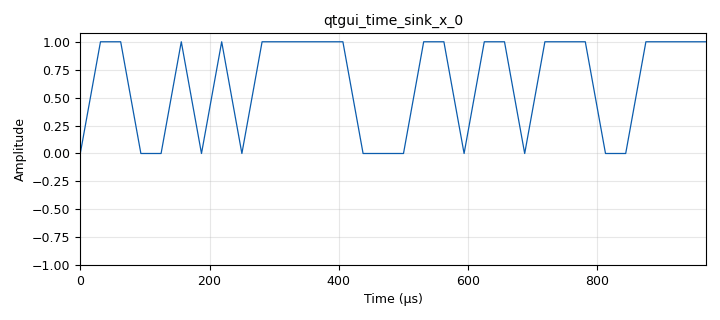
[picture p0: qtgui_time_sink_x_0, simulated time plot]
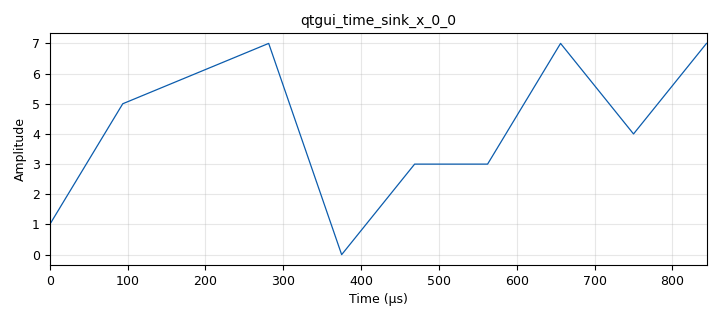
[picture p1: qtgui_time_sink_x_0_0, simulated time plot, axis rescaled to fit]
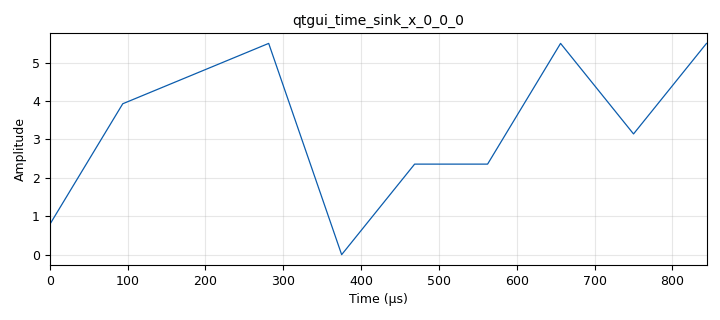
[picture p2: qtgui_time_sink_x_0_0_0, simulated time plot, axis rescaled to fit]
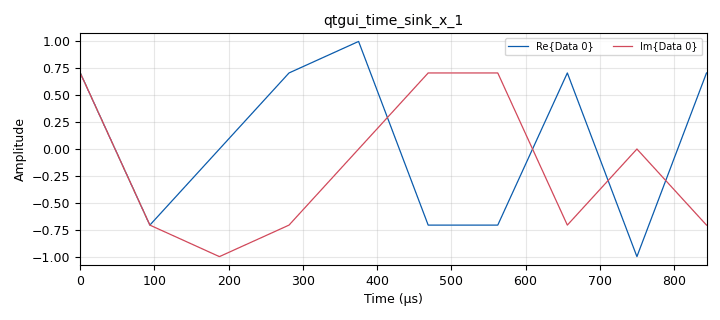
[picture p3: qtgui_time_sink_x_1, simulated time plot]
options:
  parameters:
    generate_options: qt_gui
    id: PSK
    output_language: python
    title: Not titled yet
  states: {}

blocks:
- name: M
  id: variable
  parameters:
    value: '8'
  states: {}
- name: Nbps
  id: variable
  parameters:
    value: int(math.log(M,2))
  states: {}
- name: Rb
  id: variable
  parameters:
    value: '32000'
  states: {}
- name: Rs
  id: variable
  parameters:
    value: Rb/Nbps
  states: {}
- name: analog_const_source_x_0
  id: analog_const_source_x
  parameters:
    const: '1'
    type: float
  states: {}
- name: analog_random_source_x_0
  id: analog_random_source_x
  parameters:
    max: '2'
    min: '0'
    num_samps: '1000'
    repeat: 'True'
    type: byte
  states: {}
- name: blocks_char_to_float_0
  id: blocks_char_to_float
  parameters:
    scale: '1'
  states: {}
- name: blocks_char_to_float_0_0
  id: blocks_char_to_float
  parameters:
    scale: '1'
  states: {}
- name: blocks_char_to_float_1
  id: blocks_char_to_float
  parameters:
    scale: '1'
  states: {}
- name: blocks_multiply_const_vxx_0
  id: blocks_multiply_const_vxx
  parameters:
    const: 2*math.pi/M
    type: float
  states: {}
- name: blocks_repack_bits_bb_0
  id: blocks_repack_bits_bb
  parameters:
    endianness: gr.GR_LSB_FIRST
    k: '1'
    l: Nbps
  states: {}
- name: epy_block_0
  id: epy_block
  parameters:
    _source_code: |
      """
      Embedded Python Blocks:

      Each time this file is saved, GRC will instantiate the first class it finds
      to get ports and parameters of your block. The arguments to __init__  will
      be the parameters. All of them are required to have default values!
      """

      import numpy as np
      from gnuradio import gr


      class blk(gr.sync_block):  # other base classes are basic_block, decim_block, interp_block
          """Embedded Python Block example - a simple multiply const"""

          def __init__(self, example_param=1.0):  # only default arguments here
              """VCO de dos entradas:
              Q: para manipular la fase en radianes
              A: Manipular amplitud."""
              gr.sync_block.__init__(
                  self,
                  name='e_VCO_fase_fc',   
                  in_sig=[np.float32, np.float32],
                  out_sig=[np.complex64]
              )
              # if an attribute with the same name as a parameter is found,
              # a callback is registered (properties work, too).
              self.example_param = example_param

          def work(self, input_items, output_items):
              """example: multiply with constant"""
              Q = input_items [0]
              A = input_items [1]
              Sec = output_items [0]
              Sec [:] = A*np.exp(1.j*Q)
              return len(Sec)
    example_param: '1.0'
  states: {}
- name: import_0
  id: import
  parameters:
    imports: import math
  states: {}
- name: qtgui_time_sink_x_0
  id: qtgui_time_sink_x
  parameters:
    size: '32'
    srate: Rb
    type: float
  states: {}
- name: qtgui_time_sink_x_0_0
  id: qtgui_time_sink_x
  parameters:
    size: int(32/Nbps)
    srate: Rs
    type: float
  states: {}
- name: qtgui_time_sink_x_0_0_0
  id: qtgui_time_sink_x
  parameters:
    size: int(32/Nbps)
    srate: Rs
    type: float
  states: {}
- name: qtgui_time_sink_x_1
  id: qtgui_time_sink_x
  parameters:
    size: int(32/Nbps)
    srate: Rs
    type: complex
  states: {}

connections:
- [analog_const_source_x_0, '0', epy_block_0, '1']
- [analog_random_source_x_0, '0', blocks_char_to_float_0, '0']
- [analog_random_source_x_0, '0', blocks_repack_bits_bb_0, '0']
- [blocks_char_to_float_0, '0', qtgui_time_sink_x_0, '0']
- [blocks_char_to_float_0_0, '0', qtgui_time_sink_x_0_0, '0']
- [blocks_char_to_float_1, '0', blocks_multiply_const_vxx_0, '0']
- [blocks_multiply_const_vxx_0, '0', epy_block_0, '0']
- [blocks_multiply_const_vxx_0, '0', qtgui_time_sink_x_0_0_0, '0']
- [blocks_repack_bits_bb_0, '0', blocks_char_to_float_0_0, '0']
- [blocks_repack_bits_bb_0, '0', blocks_char_to_float_1, '0']
- [epy_block_0, '0', qtgui_time_sink_x_1, '0']

metadata:
  file_format: 1
  grc_version: v3.10.11.0-89-ga17f69e7
